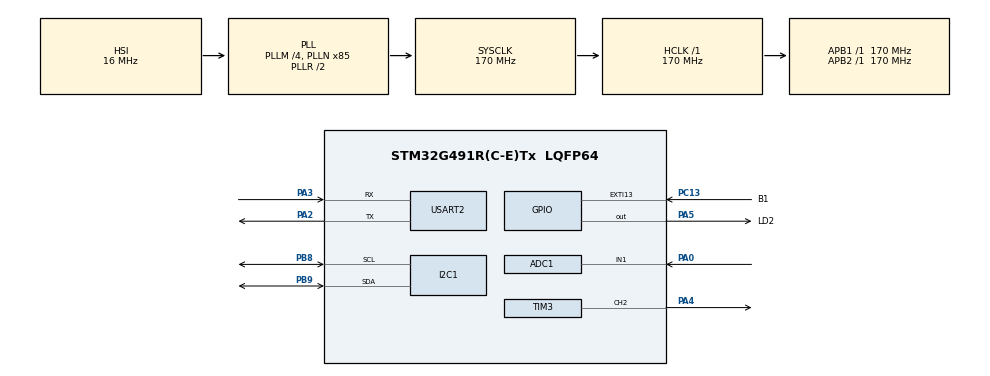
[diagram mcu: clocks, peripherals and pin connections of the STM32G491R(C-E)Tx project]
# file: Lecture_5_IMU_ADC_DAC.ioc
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ADC1.Channel-0\#ChannelRegularConversion=ADC_CHANNEL_1
ADC1.DMAContinuousRequests=ENABLE
ADC1.ExternalTrigConv=ADC_EXTERNALTRIG_T6_TRGO
ADC1.ExternalTrigConvEdge=ADC_EXTERNALTRIGCONVEDGE_RISING
ADC1.NbrOfConversionFlag=1
ADC1.OffsetNumber-0\#ChannelRegularConversion=ADC_OFFSET_NONE
ADC1.Overrun=ADC_OVR_DATA_OVERWRITTEN
ADC1.Rank-0\#ChannelRegularConversion=1
ADC1.SamplingTime-0\#ChannelRegularConversion=ADC_SAMPLETIME_92CYCLES_5
ADC1.master=1
Dma.ADC1.2.Direction=DMA_PERIPH_TO_MEMORY
Dma.ADC1.2.EventEnable=DISABLE
Dma.ADC1.2.Instance=DMA1_Channel3
Dma.ADC1.2.MemDataAlignment=DMA_MDATAALIGN_HALFWORD
Dma.ADC1.2.MemInc=DMA_MINC_ENABLE
Dma.ADC1.2.Mode=DMA_CIRCULAR
Dma.ADC1.2.PeriphDataAlignment=DMA_PDATAALIGN_HALFWORD
Dma.ADC1.2.PeriphInc=DMA_PINC_DISABLE
Dma.ADC1.2.Polarity=HAL_DMAMUX_REQ_GEN_RISING
Dma.ADC1.2.Priority=DMA_PRIORITY_LOW
Dma.ADC1.2.RequestNumber=1
Dma.ADC1.2.SignalID=NONE
Dma.ADC1.2.SyncEnable=DISABLE
Dma.ADC1.2.SyncPolarity=HAL_DMAMUX_SYNC_NO_EVENT
Dma.ADC1.2.SyncRequestNumber=1
Dma.ADC1.2.SyncSignalID=NONE
Dma.Request0=USART2_RX
Dma.Request1=USART2_TX
Dma.Request2=ADC1
Dma.USART2_RX.0.Direction=DMA_PERIPH_TO_MEMORY
Dma.USART2_RX.0.EventEnable=DISABLE
Dma.USART2_RX.0.Instance=DMA1_Channel1
Dma.USART2_RX.0.MemDataAlignment=DMA_MDATAALIGN_BYTE
Dma.USART2_RX.0.MemInc=DMA_MINC_ENABLE
Dma.USART2_RX.0.Mode=DMA_CIRCULAR
Dma.USART2_RX.0.PeriphDataAlignment=DMA_PDATAALIGN_BYTE
Dma.USART2_RX.0.PeriphInc=DMA_PINC_DISABLE
Dma.USART2_RX.0.Polarity=HAL_DMAMUX_REQ_GEN_RISING
Dma.USART2_RX.0.Priority=DMA_PRIORITY_LOW
Dma.USART2_RX.0.RequestNumber=1
Dma.USART2_RX.0.SignalID=NONE
Dma.USART2_RX.0.SyncEnable=DISABLE
Dma.USART2_RX.0.SyncPolarity=HAL_DMAMUX_SYNC_NO_EVENT
Dma.USART2_RX.0.SyncRequestNumber=1
Dma.USART2_RX.0.SyncSignalID=NONE
Dma.USART2_TX.1.Direction=DMA_MEMORY_TO_PERIPH
Dma.USART2_TX.1.EventEnable=DISABLE
Dma.USART2_TX.1.Instance=DMA1_Channel2
Dma.USART2_TX.1.MemDataAlignment=DMA_MDATAALIGN_BYTE
Dma.USART2_TX.1.MemInc=DMA_MINC_ENABLE
Dma.USART2_TX.1.Mode=DMA_NORMAL
Dma.USART2_TX.1.PeriphDataAlignment=DMA_PDATAALIGN_BYTE
Dma.USART2_TX.1.PeriphInc=DMA_PINC_DISABLE
Dma.USART2_TX.1.Polarity=HAL_DMAMUX_REQ_GEN_RISING
Dma.USART2_TX.1.Priority=DMA_PRIORITY_LOW
Dma.USART2_TX.1.RequestNumber=1
Dma.USART2_TX.1.SignalID=NONE
Dma.USART2_TX.1.SyncEnable=DISABLE
Dma.USART2_TX.1.SyncPolarity=HAL_DMAMUX_SYNC_NO_EVENT
Dma.USART2_TX.1.SyncRequestNumber=1
Dma.USART2_TX.1.SyncSignalID=NONE
I2C1.Timing=0x40B285C2
Mcu.Family=STM32G4
Mcu.Name=STM32G491R(C-E)Tx
Mcu.Package=LQFP64
NVIC.DMA1_Channel1_IRQn=true\:0\:0\:false\:false\:true\:false\:true\:true
NVIC.DMA1_Channel2_IRQn=true\:0\:0\:false\:false\:true\:false\:true\:true
NVIC.DMA1_Channel3_IRQn=true\:0\:0\:false\:false\:true\:false\:true\:true
NVIC.EXTI15_10_IRQn=true\:0\:0\:false\:false\:true\:true\:true\:true
NVIC.PriorityGroup=NVIC_PRIORITYGROUP_4
NVIC.TIM6_DAC_IRQn=true\:0\:0\:false\:false\:true\:true\:true\:true
NVIC.USART2_IRQn=true\:0\:0\:false\:false\:true\:true\:true\:true
PA0.Mode=IN1-Single-Ended
PA0.Signal=ADC1_IN1
PA13.GPIO_Label=T_SWDIO
PA13.Signal=SYS_JTMS-SWDIO
PA14.GPIO_Label=T_SWCLK
PA14.Signal=SYS_JTCK-SWCLK
PA2.Mode=Asynchronous
PA2.Signal=USART2_TX
PA3.Mode=Asynchronous
PA3.Signal=USART2_RX
PA4.Signal=S_TIM3_CH2
PA5.GPIO_Label=LD2
PA5.Signal=GPIO_Output
PB3.GPIO_Label=T_SWO
PB3.Signal=SYS_JTDO-SWO
PB8-BOOT0.Mode=I2C
PB8-BOOT0.Signal=I2C1_SCL
PB9.Mode=I2C
PB9.Signal=I2C1_SDA
PC13.GPIO_Label=B1
PC13.GPIO_ModeDefaultEXTI=GPIO_MODE_IT_RISING_FALLING
PC13.GPIO_PuPd=GPIO_PULLDOWN
PC13.Signal=GPXTI13
PC14-OSC32_IN.GPIO_Label=RCC_OSC32_IN
PC14-OSC32_IN.Signal=RCC_OSC32_IN
PC15-OSC32_OUT.GPIO_Label=RCC_OSC32_OUT
PC15-OSC32_OUT.Signal=RCC_OSC32_OUT
PF0-OSC_IN.GPIO_Label=RCC_OSC_IN
PF0-OSC_IN.Signal=RCC_OSC_IN
PF1-OSC_OUT.GPIO_Label=RCC_OSC_OUT
PF1-OSC_OUT.Signal=RCC_OSC_OUT
ProjectManager.HeapSize=0x200
ProjectManager.StackSize=0x400
ProjectManager.TargetToolchain=STM32CubeIDE
RCC.ADC12Freq_Value=170000000
RCC.ADC345Freq_Value=170000000
RCC.AHBFreq_Value=170000000
RCC.APB1Freq_Value=170000000
RCC.APB1TimFreq_Value=170000000
RCC.APB2Freq_Value=170000000
RCC.APB2TimFreq_Value=170000000
RCC.CortexFreq_Value=170000000
RCC.EXTERNAL_CLOCK_VALUE=12288000
RCC.HCLKFreq_Value=170000000
RCC.HSE_VALUE=24000000
RCC.HSI48_VALUE=48000000
RCC.HSI_VALUE=16000000
RCC.LSE_VALUE=32768
RCC.PLLM=RCC_PLLM_DIV4
RCC.PLLN=85
RCC.RTCClockSelection=RCC_RTCCLKSOURCE_LSE
RCC.SYSCLKFreq_VALUE=170000000
RCC.SYSCLKSource=RCC_SYSCLKSOURCE_PLLCLK
RCC.USBFreq_Value=48000000
RCC.VCOOutputFreq_Value=340000000
SH.S_TIM3_CH2.0=TIM3_CH2,PWM Generation2 CH2
TIM3.Channel-PWM\ Generation2\ CH2=TIM_CHANNEL_2
TIM6.PeriodNoDither=99
TIM6.Prescaler=16999
TIM6.TIM_MasterOutputTrigger=TIM_TRGO_UPDATE
USART2.VirtualMode-Asynchronous=VM_ASYNC
VP_SYS_VS_DBSignals.Mode=DisableDeadBatterySignals
VP_TIM6_VS_ClockSourceINT.Mode=Enable_Timer
board=NUCLEO-G491RE

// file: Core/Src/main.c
/* USER CODE BEGIN Header */
/**
 ******************************************************************************
 * @file           : main.c
 * @brief          : Main program body
 ******************************************************************************
 * @attention
 *
 * Copyright (c) 2026 STMicroelectronics.
 * All rights reserved.
 *
 * This software is licensed under terms that can be found in the LICENSE file
 * in the root directory of this software component.
 * If no LICENSE file comes with this software, it is provided AS-IS.
 *
 ******************************************************************************
 */
/* USER CODE END Header */
#include "main.h"
#include "adc.h"
#include "dma.h"
#include "i2c.h"
#include "tim.h"
#include "usart.h"
#include "gpio.h"

/* USER CODE BEGIN Includes */
#include "cmd_parser.h"
#include "events_handler.h"
#include "flash_manager.h"
#include "mpu6050.h"
#include "ring_buffer.h"

#include <math.h>
#include <stdio.h>
#include <string.h>
#include <stdlib.h>
/* USER CODE END Includes */

/* USER CODE BEGIN PD */
#define ADC_BUF_LEN 128
/* USER CODE END PD */

/* USER CODE BEGIN PV */
AppConfig_t config;
MPU6050_Data_t mpu_data;
RingBuffer_t uart_rx_rb;

uint8_t rx_byte;
uint8_t line_index = 0;
uint8_t line_overflow = 0;
uint8_t alarm_active = 0;

char line_buffer[64];
char cmd_response[256];

float current_roll = 0.0f;
float current_pitch = 0.0f;
float accel_g = 0.0f;

volatile uint16_t adc_buf[ADC_BUF_LEN];
volatile uint8_t adc_half_ready = 0;
volatile uint8_t adc_full_ready = 0;

volatile uint16_t adc_min = 4095;
volatile uint16_t adc_max = 0;
/* USER CODE END PV */

void SystemClock_Config(void);

/* USER CODE BEGIN PFP */
static void App_ProcessAlarm(void);
static void App_SendText(const char *text);
void ProcessSamples(uint16_t start_i);
/* USER CODE END PFP */

int main(void)
{

  /* MCU Configuration--------------------------------------------------------*/

  /* Reset of all peripherals, Initializes the Flash interface and the Systick. */
  HAL_Init();

  /* Configure the system clock */
  SystemClock_Config();

  /* Initialize all configured peripherals */
  MX_GPIO_Init();
  MX_DMA_Init();
  MX_USART2_UART_Init();
  MX_I2C1_Init();
  MX_TIM6_Init();
  MX_TIM3_Init();
  MX_ADC1_Init();
  /* USER CODE BEGIN 2 */

  App_SendText("\r\n=== BOOT: System Poziomnicy i Alarmu (Projekt 2) ===\r\n");

  RB_Init(&uart_rx_rb);

  // Wczytywanie pamieci Flash
  if (Flash_LoadConfig(&config) != HAL_OK)
  {
    Flash_SetDefaults(&config);
    App_SendText("INFO: Wczytano domyslna konfiguracje\r\n");
  }
  else
  {
    App_SendText("INFO: Konfiguracja wczytana z Flash\r\n");
  }

  MPU6050_Init(&hi2c1);

  HAL_UART_Receive_IT(&huart2, &rx_byte, 1);
  HAL_ADCEx_Calibration_Start(&hadc1, ADC_SINGLE_ENDED);
  HAL_ADC_Start_DMA(&hadc1, (uint32_t*)adc_buf, ADC_BUF_LEN);

  HAL_TIM_Base_Start(&htim6);

  // Ustawiamy buzzer na kanale PA4 na cisze
  __HAL_TIM_SET_COMPARE(&htim3, TIM_CHANNEL_2, 0);
  HAL_TIM_PWM_Stop(&htim3, TIM_CHANNEL_2);

  App_SendText("READY - uklad gotowy!\r\n");
  /* USER CODE END 2 */

  /* Infinite loop */
  /* USER CODE BEGIN WHILE */

  // Zmienne do niezawodnej obsługi Niebieskiego Przycisku
  static uint32_t btn_press_start = 0;
  static uint8_t btn_state = 0;
  static uint32_t last_click_time = 0;
  static uint8_t click_count = 0;

  while (1)
  {
    if (adc_half_ready)
    {
      adc_half_ready = 0;
      ProcessSamples(0);
    }

    if (adc_full_ready)
    {
      adc_full_ready = 0;
      ProcessSamples(ADC_BUF_LEN / 2);
    }
    /* USER CODE END WHILE */

    /* USER CODE BEGIN 3 */

    uint8_t rb_byte;

    // 1. ODCZYT MPU6050
    MPU6050_Update(NULL, &mpu_data);

    current_roll = mpu_data.roll_kalman - config.offset_roll;
    current_pitch = mpu_data.pitch_kalman - config.offset_pitch;

    accel_g = sqrtf((mpu_data.ax_g * mpu_data.ax_g) +
                    (mpu_data.ay_g * mpu_data.ay_g) +
                    (mpu_data.az_g * mpu_data.az_g));

    App_ProcessAlarm();

    // ---------------------------------------------------------
    // 2. KULOODPORNA OBSŁUGA NIEBIESKIEGO PRZYCISKU (B1)
    // ---------------------------------------------------------
    // Wciśnięcie na Nucleo to stan niski (RESET)
    uint8_t is_pressed = (HAL_GPIO_ReadPin(B1_GPIO_Port, B1_Pin) == GPIO_PIN_RESET) ? 1 : 0;

    if (is_pressed && btn_state == 0) {
        btn_state = 1; // Zaczynamy wciśnięcie
        btn_press_start = HAL_GetTick();
    }
    else if (!is_pressed && btn_state == 1) {
        btn_state = 0; // Puszczono przycisk
        uint32_t duration = HAL_GetTick() - btn_press_start;

        // Krótkie kliknięcie (Tróklik do zapisania max kątów)
        if (duration > 20 && duration < 1000) {
            uint32_t now = HAL_GetTick();
            if (now - last_click_time > 600) click_count = 1; // Zbyt długa przerwa = licz od nowa
            else click_count++;

            last_click_time = now;

            if (click_count >= 3) {
                if (fabsf(current_roll) > fabsf(config.max_roll)) config.max_roll = current_roll;
                if (fabsf(current_pitch) > fabsf(config.max_pitch)) config.max_pitch = current_pitch;
                (void)Flash_SaveConfig(&config);
                App_SendText("\r\n[---> ZNACZNIK: TROJKLIK <---]\r\nOK: Zapisano maksymalne wychylenia!\r\n");
                click_count = 0; // Reset
            }
        }
    }

    // Długie wciśnięcie (5 sekund) - kalibracja poziomu
    if (btn_state == 1 && (HAL_GetTick() - btn_press_start > 5000)) {
        config.offset_roll = mpu_data.roll_kalman;
        config.offset_pitch = mpu_data.pitch_kalman;
        current_roll = 0.0f;
        current_pitch = 0.0f;
        (void)Flash_SaveConfig(&config);
        App_SendText("\r\n[---> ZNACZNIK: PRZYTRZYMANIE 5S <---]\r\nOK: Poziom odniesienia zapisany do Flash!\r\n");
        btn_state = 2; // Blokada przed wielokrotnym wywołaniem
    }

    // Odblokowanie po puszczeniu z długiego wciśnięcia
    if (!is_pressed && btn_state == 2) {
        btn_state = 0;
    }

    // ---------------------------------------------------------
    // 3. KULOODPORNY PARSER UART (Odporny na przecinki!)
    // ---------------------------------------------------------
    while (RB_Read(&uart_rx_rb, &rb_byte) == 0)
    {
      if ((rb_byte == '\n') || (rb_byte == '\r'))
      {
        if (line_overflow != 0U)
        {
          line_overflow = 0U;
          line_index = 0U;
        }
        else if (line_index > 0U)
        {
          line_buffer[line_index] = '\0';

          // Magiczna linijka: zamienia w locie wszystkie przecinki na kropki!
          for(int k = 0; line_buffer[k] != '\0'; k++) {
              if (line_buffer[k] == ',') line_buffer[k] = '.';
          }

          // Ręczne dekodowanie komend (z pominięciem zepsutego cmd_parser.c)
          if (strncmp(line_buffer, "SET_G ", 6) == 0) {
              config.threshold_g = (float)atof(&line_buffer[6]);
              (void)Flash_SaveConfig(&config);
              snprintf(cmd_response, sizeof(cmd_response), "OK: Prog G ustawiony na %.2f\r\n", (double)config.threshold_g);
          }
          else if (strncmp(line_buffer, "SET_VOL ", 8) == 0) {
              config.volume_percent = atoi(&line_buffer[8]);
              (void)Flash_SaveConfig(&config);
              snprintf(cmd_response, sizeof(cmd_response), "OK: Glosnosc ustawiona na %lu %%\r\n", (unsigned long)config.volume_percent);
          }
          else if (strncmp(line_buffer, "GET_INFO", 8) == 0) {
              snprintf(cmd_response, sizeof(cmd_response),
                       "RAPORT: Roll=%.2f, Pitch=%.2f, MaxRoll=%.2f, MaxPitch=%.2f, Prog_G=%.2f, Vol=%lu%%\r\n",
                       (double)current_roll, (double)current_pitch, (double)config.max_roll, (double)config.max_pitch,
                       (double)config.threshold_g, (unsigned long)config.volume_percent);
          }
          else {
              snprintf(cmd_response, sizeof(cmd_response), "Nieznana komenda (Dostepne: SET_G, SET_VOL, GET_INFO)\r\n");
          }

          App_SendText(cmd_response);
          line_index = 0U;
        }
      }
      else if (line_overflow != 0U) { }
      else if (line_index < (sizeof(line_buffer) - 1U))
      {
        line_buffer[line_index] = (char)rb_byte;
        line_index++;
      }
      else
      {
        line_index = 0U;
        line_overflow = 1U;
      }
    }
    HAL_Delay(10);
  }
  /* USER CODE END 3 */
}

void SystemClock_Config(void)
{
  RCC_OscInitTypeDef RCC_OscInitStruct = {0};
  RCC_ClkInitTypeDef RCC_ClkInitStruct = {0};

  HAL_PWREx_ControlVoltageScaling(PWR_REGULATOR_VOLTAGE_SCALE1_BOOST);
  RCC_OscInitStruct.OscillatorType = RCC_OSCILLATORTYPE_HSI;
  RCC_OscInitStruct.HSIState = RCC_HSI_ON;
  RCC_OscInitStruct.HSICalibrationValue = RCC_HSICALIBRATION_DEFAULT;
  RCC_OscInitStruct.PLL.PLLState = RCC_PLL_ON;
  RCC_OscInitStruct.PLL.PLLSource = RCC_PLLSOURCE_HSI;
  RCC_OscInitStruct.PLL.PLLM = RCC_PLLM_DIV4;
  RCC_OscInitStruct.PLL.PLLN = 85;
  RCC_OscInitStruct.PLL.PLLP = RCC_PLLP_DIV2;
  RCC_OscInitStruct.PLL.PLLQ = RCC_PLLQ_DIV2;
  RCC_OscInitStruct.PLL.PLLR = RCC_PLLR_DIV2;
  if (HAL_RCC_OscConfig(&RCC_OscInitStruct) != HAL_OK)
  {
    Error_Handler();
  }

  RCC_ClkInitStruct.ClockType = RCC_CLOCKTYPE_HCLK|RCC_CLOCKTYPE_SYSCLK
                              |RCC_CLOCKTYPE_PCLK1|RCC_CLOCKTYPE_PCLK2;
  RCC_ClkInitStruct.SYSCLKSource = RCC_SYSCLKSOURCE_PLLCLK;
  RCC_ClkInitStruct.AHBCLKDivider = RCC_SYSCLK_DIV1;
  RCC_ClkInitStruct.APB1CLKDivider = RCC_HCLK_DIV1;
  RCC_ClkInitStruct.APB2CLKDivider = RCC_HCLK_DIV1;

  if (HAL_RCC_ClockConfig(&RCC_ClkInitStruct, FLASH_LATENCY_4) != HAL_OK)
  {
    Error_Handler();
  }
}

/* USER CODE BEGIN 4 */

static void App_ProcessAlarm(void)
{
  uint32_t period = htim3.Init.Period; // Zazwyczaj 999
  uint32_t volume = config.volume_percent;
  uint32_t pulse;

  if (volume > 100U) volume = 100U;

  if ((config.threshold_g > 0.0f) && (accel_g >= config.threshold_g))
  {
    pulse = ((period + 1U) * volume) / 100U;
    if (pulse > period) pulse = period;

    __HAL_TIM_SET_COMPARE(&htim3, TIM_CHANNEL_2, pulse);
    if (alarm_active != 2U)
    {
      HAL_TIM_PWM_Start(&htim3, TIM_CHANNEL_2);
      alarm_active = 2U;
    }
  }
  else if ((config.threshold_g > 0.0f) && (accel_g >= (config.threshold_g * 0.8f)))
  {
    if ((HAL_GetTick() / 200) % 2 == 0) {
        pulse = ((period + 1U) * (volume / 4)) / 100U;
        __HAL_TIM_SET_COMPARE(&htim3, TIM_CHANNEL_2, pulse);
        if (alarm_active != 1U) {
            HAL_TIM_PWM_Start(&htim3, TIM_CHANNEL_2);
            alarm_active = 1U;
        }
    } else {
        __HAL_TIM_SET_COMPARE(&htim3, TIM_CHANNEL_2, 0U);
    }
  }
  else
  {
    if (alarm_active != 0U)
    {
      __HAL_TIM_SET_COMPARE(&htim3, TIM_CHANNEL_2, 0U);
      HAL_TIM_PWM_Stop(&htim3, TIM_CHANNEL_2);
      alarm_active = 0U;
    }
  }
}

static void App_SendText(const char *text)
{
  if (text == NULL) return;
  HAL_UART_Transmit(&huart2, (uint8_t*)text, (uint16_t)strlen(text), HAL_MAX_DELAY);
}

void HAL_UART_RxCpltCallback(UART_HandleTypeDef *huart)
{
  if (huart->Instance == USART2)
  {
    (void)RB_Write(&uart_rx_rb, rx_byte);
    HAL_UART_Receive_IT(&huart2, &rx_byte, 1);
  }
}

void HAL_ADC_ConvHalfCpltCallback(ADC_HandleTypeDef *hadc)
{
  if (hadc->Instance == ADC1) adc_half_ready = 1;
}

void HAL_ADC_ConvCpltCallback(ADC_HandleTypeDef *hadc)
{
  if (hadc->Instance == ADC1) adc_full_ready = 1;
}

// -------------------------------------------------------------
// BARDZO CZUŁA DETEKCJA 2 KLAŚNIĘĆ / PUKNIĘĆ
// -------------------------------------------------------------
void ProcessSamples(uint16_t start_i)
{
  uint8_t reset_flag = 1;

  adc_min = 4095;
  adc_max = 0;

  for (uint16_t i = start_i; i < (start_i + (ADC_BUF_LEN / 2)); i++)
  {
    if ((adc_buf[i] < adc_min) || reset_flag) adc_min = adc_buf[i];
    if ((adc_buf[i] > adc_max) || reset_flag) adc_max = adc_buf[i];
    reset_flag = 0;
  }

  static uint32_t last_clap_ms = 0U;
  static uint8_t clap_count = 0U;
  uint32_t now_ms = HAL_GetTick();

  if ((clap_count > 0) && ((now_ms - last_clap_ms) > 1500U))
  {
    clap_count = 0;
  }

  // Próg czułości obniżony do minimum! (150 z 4095 to dosłownie podmuch wiatru)
  if ((adc_max - adc_min) > 150U)
  {
    if ((now_ms - last_clap_ms) > 200U)
    {
      last_clap_ms = now_ms;
      clap_count++;

      if (clap_count >= 2)
      {
        float captured_roll = current_roll;
        float captured_pitch = current_pitch;

        char clap_msg[200];
        snprintf(clap_msg, sizeof(clap_msg),
                 "\r\n[---> ZNACZNIK: WYKRYTO PODWOJNE KLASNIECIE <---]\r\nZAPISANE KATY -> Roll: %.2f | Pitch: %.2f\r\n\r\n",
                 (double)captured_roll, (double)captured_pitch);

        App_SendText(clap_msg);
        clap_count = 0;
      }
    }
  }
}

// Oczyszczone przerwanie od starych logik sprzętowych
void HAL_GPIO_EXTI_Callback(uint16_t GPIO_Pin)
{
  Events_GPIO_EXTI_Callback(GPIO_Pin);
}

/* USER CODE END 4 */

void Error_Handler(void)
{
  __disable_irq();
  while (1)
  {
  }
}
